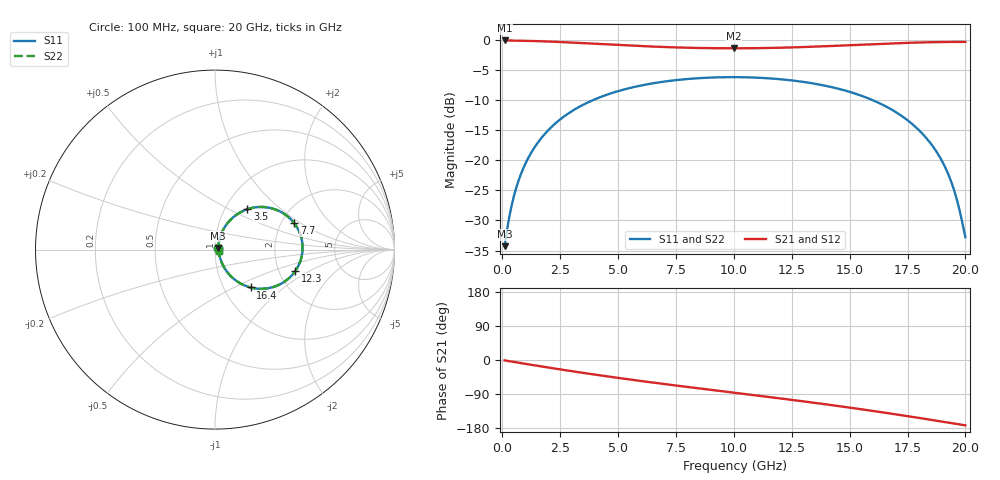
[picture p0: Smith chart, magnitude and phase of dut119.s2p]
! Touchstone file exported from HFSS 2026.1.0
!  File:  C:/ffzhzh/LocalFiles/Ansys_Project_Files/temp_train_TSV_RDL_119_1783047349_46780.aedt
!  Generated:  11:10:01 AM Jul  3, 2026
!  Design:  TSV_RDL
!  Project:  temp_train_TSV_RDL_119_1783047349_46780
! Variables:
!  h_bsmrdl = 5.47um
!  h_ox = 20um
!  h_rdl = 5um
!  h_sub = 50.59um
!  h_tmrdl = 5.04um
!  h_tsv = 50.59um
!  h_via = 3um
!  l_bsmrdl = 521.35um
!  l_sub = 3051.59um
!  l_tmrdl = 238.51um
!  m_sub = 200um
!  pitch = 45.77um
!  r_tsv = 2.19um
!  s_tmrdl = 10um
!  w_bsmrdl = 28.23um
!  w_sub = 500um
!  w_tmrdl = 16.27um
!  x_tsv_center1 = 246.645um
!  x_tsv_center2 = 796.225um
!  x_tsv_center3 = 1051.005um
!  x_tsv_center4 = 1600.585um
!  x_tsv_center5 = 1855.365um
!  x_tsv_center6 = 2404.945um
# GHz S MA R 50.000000
! Terminal data exported
! Port[1] = TM_RDL1_1_T1
! Port[2] = TM_RDL5_1_T1
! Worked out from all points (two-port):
!   200 points, 100 MHz to 20 GHz, reference 50 ohm
!   highest |S21| = -0.15 dB at 100 MHz (marker M1); lowest = -1.4 dB at 10 GHz (marker M2)
!   |S21| within 3 dB of the highest: start of sweep to end of sweep
!   lowest |S11| = -34.3 dB at 100 MHz (marker M3), VSWR 1.04, Z = 51.7 + j1 ohm
!   |S11| at or under -10 dB: start of sweep to 3.941 GHz; 15.97 GHz to end of sweep
!   |S22| runs from -34.3 to -6.2 dB; largest |S21 - S12| = 7.9e-14
!   S11 on the Smith chart (normalised r, x): 100 MHz: 1.03, +0.02; 3.5 GHz: 1.27, +0.62; 7.7 GHz: 2.35, +0.88; 12.3 GHz: 2.46, -0.75; 16.4 GHz: 1.33, -0.61; 20 GHz: 1.04, -0.02
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0.1  0.01936 30.1  0.9834 -1.1  0.9834 -1.1  0.01936 30.1
! Gamma 0 0 0 0
! Port Impedance 50 0 50 0
0.3  0.03365 55.4  0.982 -3.1  0.982 -3.1  0.03365 55.4
0.5  0.05021 63.7  0.9807 -5.1  0.9807 -5.1  0.05021 63.7
0.8  0.0762 67.7  0.9786 -8.1  0.9786 -8.1  0.0762 67.7
1.2  0.1111 67.9  0.9747 -12.1  0.9747 -12.1  0.1111 67.9
2.2  0.1945 61.8  0.9599 -22.0  0.9599 -22.0  0.1945 61.8
3.5  0.2886 51.3  0.934 -34.1  0.934 -34.1  0.2886 51.3
5.1  0.3784 38.2  0.9002 -48.1  0.9002 -48.1  0.3784 38.2
6.8  0.4431 25.1  0.8703 -61.9  0.8703 -61.9  0.4431 25.1
7.7  0.4654 18.4  0.8589 -68.9  0.8589 -68.9  0.4654 18.4
10  0.4882 1.8  0.8465 -86.2  0.8465 -86.2  0.4882 1.7
10.1  0.4881 1.0  0.8465 -87.0  0.8465 -87.0  0.4881 1.0
12.3  0.4631 -14.9  0.8589 -103.7  0.8589 -103.7  0.4631 -14.9
13.4  0.4335 -23.2  0.8726 -112.3  0.8726 -112.3  0.4335 -23.2
15  0.3685 -35.6  0.8984 -125.6  0.8984 -125.6  0.3686 -35.6
16.4  0.2898 -46.8  0.9229 -138.0  0.9229 -138.0  0.2898 -46.8
16.7  0.2703 -49.1  0.9278 -140.7  0.9278 -140.7  0.2703 -49.2
18  0.1769 -58.8  0.9459 -152.9  0.9459 -152.9  0.1769 -58.8
18.9  0.1056 -62.9  0.9538 -161.6  0.9538 -161.6  0.1056 -63.0
19.5  0.05736 -59.3  0.9563 -167.5  0.9563 -167.5  0.05734 -59.3
19.7  0.04197 -53.2  0.9566 -169.5  0.9566 -169.5  0.04194 -53.3
20  0.023 -24.8  0.9565 -172.4  0.9565 -172.4  0.02293 -24.9
